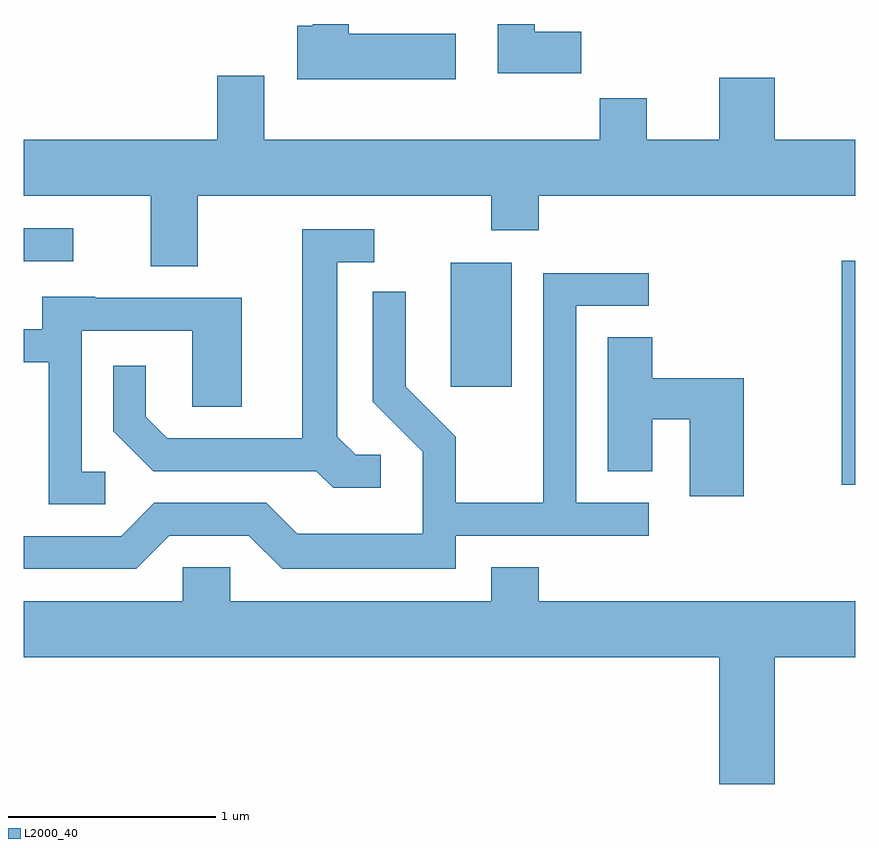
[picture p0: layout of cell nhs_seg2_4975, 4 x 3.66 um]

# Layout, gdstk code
import gdstk
lib = gdstk.Library(unit=1e-6, precision=1e-09)
def R(c, l, rs):  # rectangles x0, y0, x1, y1
    for r in rs: c.add(gdstk.rectangle(r[:2], r[2:], *l))
def P(c, l, *ps):  # polygons
    for p in ps: c.add(gdstk.Polygon(p, *l))
L2000_40 = (2000, 40)

nhs_seg2_4975 = lib.new_cell('nhs_seg2_4975')
R(nhs_seg2_4975, L2000_40, [(335.546,1053.586,335.611,1054.664), (333.666,1054.056,333.959,1054.654), (331.611,1054.661,331.848,1054.819)])
P(nhs_seg2_4975, L2000_40, [(333.689,1055.754),(333.174,1055.754),(333.174,1055.802),(333.001,1055.802),(333.001,1055.794),(332.926,1055.794),(332.926,1055.536),(333.689,1055.536)],
  [(334.294,1055.764),(334.069,1055.764),(334.069,1055.802),(333.891,1055.802),(333.891,1055.566),(334.294,1055.566)],
  [(332.449,1054.976),(333.861,1054.976),(333.861,1054.811),(334.089,1054.811),(334.089,1054.976),(335.611,1054.976),(335.611,1055.244),(335.224,1055.244),(335.224,1055.544),(334.956,1055.544),(334.956,1055.244),(334.609,1055.244),(334.609,1055.444),(334.381,1055.444),(334.381,1055.244),(332.769,1055.244),(332.769,1055.554),(332.541,1055.554),(332.541,1055.244),(331.611,1055.244),(331.611,1054.976),(332.221,1054.976),(332.221,1054.636),(332.449,1054.636)],
  [(333.328,1053.729),(333.207,1053.729),(333.119,1053.817),(333.119,1054.656),(333.298,1054.656),(333.298,1054.814),(332.951,1054.814),(332.951,1053.809),(332.302,1053.809),(332.199,1053.912),(332.199,1054.158),(332.041,1054.158),(332.041,1053.844),(332.234,1053.651),(333.019,1053.651),(333.099,1053.571),(333.328,1053.571)],
  [(332.312,1053.341),(332.694,1053.341),(332.854,1053.181),(333.689,1053.181),(333.689,1053.341),(334.618,1053.341),(334.618,1053.499),(334.269,1053.499),(334.269,1054.446),(334.618,1054.446),(334.618,1054.604),(334.111,1054.604),(334.111,1053.499),(333.689,1053.499),(333.689,1053.817),(333.449,1054.057),(333.449,1054.513),(333.291,1054.513),(333.291,1053.984),(333.531,1053.744),(333.531,1053.349),(332.927,1053.349),(332.777,1053.499),(332.239,1053.499),(332.079,1053.339),(331.611,1053.339),(331.611,1053.181),(332.152,1053.181)],
  [(332.003,1053.649),(331.889,1053.649),(331.889,1054.326),(332.421,1054.326),(332.421,1053.961),(332.659,1053.961),(332.659,1054.484),(331.955,1054.484),(331.955,1054.489),(331.701,1054.489),(331.701,1054.334),(331.611,1054.334),(331.611,1054.176),(331.731,1054.176),(331.731,1053.491),(332.003,1053.491)],
  [(335.074,1054.099),(334.634,1054.099),(334.634,1054.294),(334.421,1054.294),(334.421,1053.651),(334.634,1053.651),(334.634,1053.901),(334.816,1053.901),(334.816,1053.531),(335.074,1053.531)],
  [(335.224,1052.756),(335.611,1052.756),(335.611,1053.024),(334.089,1053.024),(334.089,1053.189),(333.861,1053.189),(333.861,1053.024),(332.604,1053.024),(332.604,1053.189),(332.376,1053.189),(332.376,1053.024),(331.611,1053.024),(331.611,1052.756),(334.956,1052.756),(334.956,1052.146),(335.224,1052.146)])

lib.write_gds('nhs_seg2_4975.gds')
